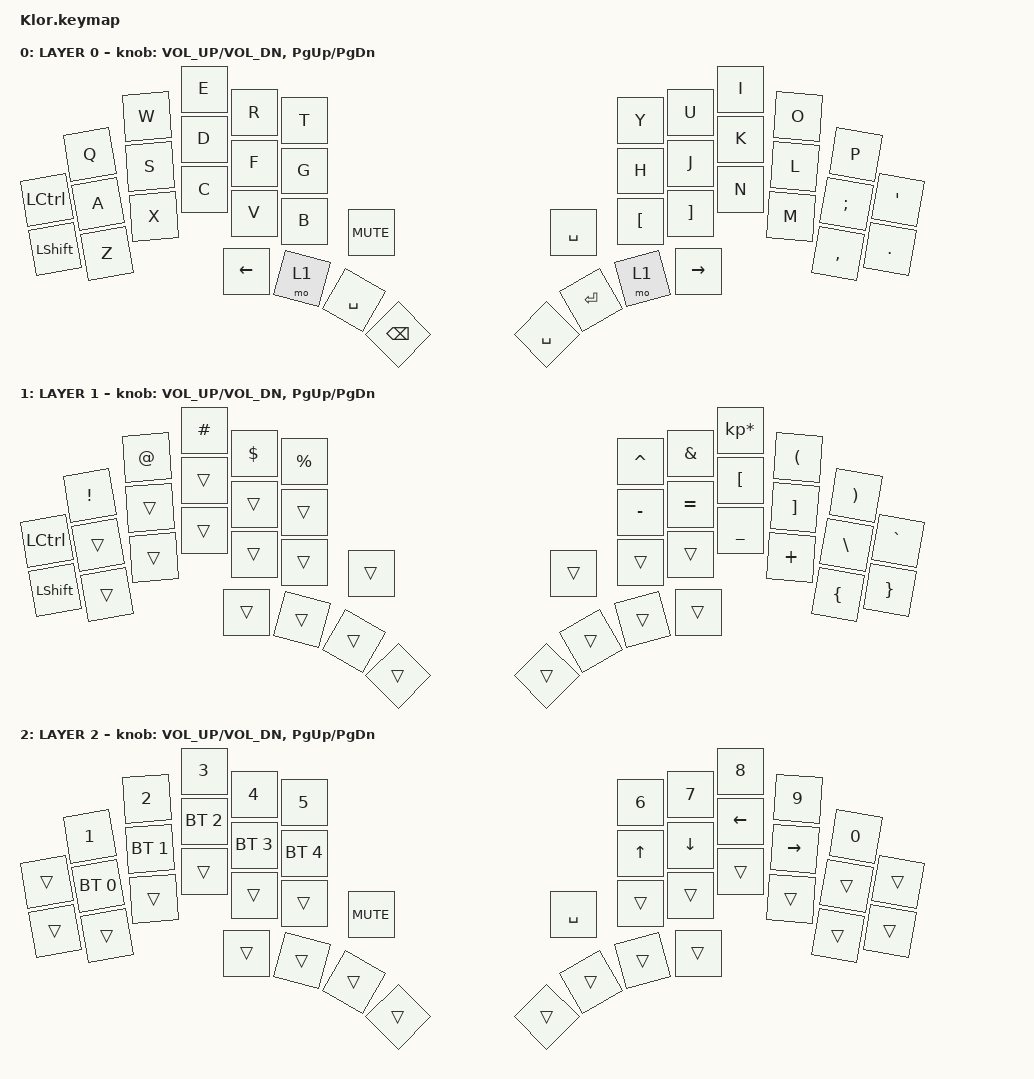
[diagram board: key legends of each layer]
/*
 * Copyright (c) 2020 The ZMK Contributors
 *
 * SPDX-License-Identifier: MIT
 */

#include <behaviors.dtsi>
#include <dt-bindings/zmk/bt.h>
#include <dt-bindings/zmk/keys.h>

/ {
    keymap {
        compatible = "zmk,keymap";

        LAYER0 {
            bindings = <
           &kp Q     &kp W  &kp E      &kp R          &kp T       &kp Y      &kp U      &kp I      &kp O  &kp P
&kp LCTRL  &kp A     &kp S  &kp D      &kp F          &kp G       &kp H      &kp J      &kp K      &kp L  &kp SEMI   &kp SQT
&kp LSHFT  &kp Z     &kp X  &kp C      &kp V          &kp B       &kp LBKT   &kp RBKT   &kp N      &kp M  &kp COMMA  &kp PERIOD
           &kp LEFT  &mo 1  &kp SPACE  &kp BACKSPACE  &kp C_MUTE  &kp SPACE  &kp SPACE  &kp ENTER  &mo 1  &kp RIGHT
            >;

            sensor-bindings = <&inc_dec_kp C_VOL_UP C_VOL_DN &inc_dec_kp PG_UP PG_DN>;
            display-name = "LAYER 0";
        };

        LAYER1 {
            bindings = <
           &kp EXCL  &kp AT     &kp HASH  &kp DLLR  &kp PRCNT  &kp CARET  &kp AMPS   &kp KP_MULTIPLY  &kp LPAR  &kp RPAR
&kp LCTRL  &trans    &trans     &trans    &trans    &trans     &kp MINUS  &kp EQUAL  &kp LBKT         &kp RBKT  &kp BSLH  &kp GRAVE
&kp LSHFT  &trans    &trans     &trans    &trans    &trans     &trans     &trans     &kp UNDER        &kp PLUS  &kp LBRC  &kp RBRC
           &trans    &trans     &trans    &trans    &trans     &trans     &trans     &trans           &trans    &trans
                      >;

            sensor-bindings = <&inc_dec_kp C_VOL_UP C_VOL_DN &inc_dec_kp PG_UP PG_DN>;
            display-name = "LAYER 1";
        };

        LAYER2 {
            bindings = <
        &kp N1        &kp N2        &kp N3        &kp N4        &kp N5        &kp N6     &kp N7    &kp N8    &kp N9     &kp N0
&trans  &bt BT_SEL 0  &bt BT_SEL 1  &bt BT_SEL 2  &bt BT_SEL 3  &bt BT_SEL 4  &kp UP     &kp DOWN  &kp LEFT  &kp RIGHT  &trans  &trans
&trans  &trans        &trans        &trans        &trans        &trans        &trans     &trans    &trans    &trans     &trans  &trans
        &trans        &trans        &trans        &trans        &kp C_MUTE    &kp SPACE  &trans    &trans    &trans     &trans
            >;

            sensor-bindings = <&inc_dec_kp C_VOL_UP C_VOL_DN &inc_dec_kp PG_UP PG_DN>;
            display-name = "LAYER 2";
        };
                extra1 {
            status = "reserved";
                display-name = "LAYER 3";
        };
        extra2 {
            status = "reserved";
                display-name = "LAYER 4";
        };
        extra3 {
            status = "reserved";
                display-name = "LAYER 5";
        };
        extra4 {
            status = "reserved";
                display-name = "LAYER 6";
        };
    };
};
